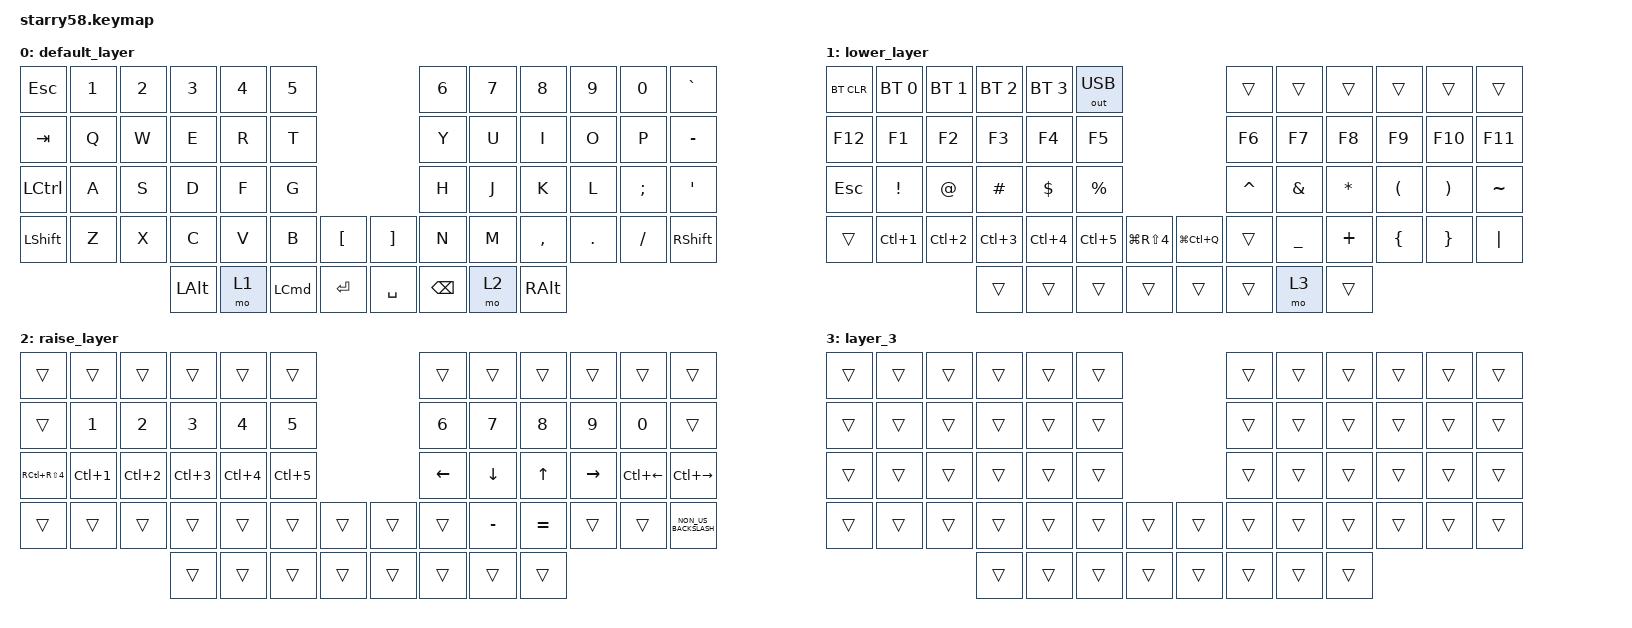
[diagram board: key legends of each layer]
#include <behaviors.dtsi>
#include <dt-bindings/zmk/bt.h>
#include <dt-bindings/zmk/keys.h>
#include <dt-bindings/zmk/outputs.h>

&sl { release-after-ms = <5000>; };

&kscan0 {
    debounce-press-ms = <30>;
    debounce-release-ms = <30>;
};

/ {
    keymap {
        compatible = "zmk,keymap";

        default_layer {
            bindings = <
&kp ESC           &kp N1  &kp N2  &kp N3        &kp N4  &kp N5                                   &kp N6         &kp N7  &kp N8         &kp N9   &kp N0    &kp GRAVE
&kp TAB           &kp Q   &kp W   &kp E         &kp R   &kp T                                    &kp Y          &kp U   &kp I          &kp O    &kp P     &kp MINUS
&kp LEFT_CONTROL  &kp A   &kp S   &kp D         &kp F   &kp G                                    &kp H          &kp J   &kp K          &kp L    &kp SEMI  &kp SQT
&kp LEFT_SHIFT    &kp Z   &kp X   &kp C         &kp V   &kp B             &kp LBKT    &kp RBKT   &kp N          &kp M   &kp COMMA      &kp DOT  &kp FSLH  &kp RIGHT_SHIFT
                                  &kp LEFT_ALT  &mo 1   &kp LEFT_COMMAND  &kp RET     &kp SPACE  &kp BACKSPACE  &mo 2   &kp RIGHT_ALT
            >;
        };

        lower_layer {
            bindings = <
&bt BT_CLR  &bt BT_SEL 0      &bt BT_SEL 1      &bt BT_SEL 2      &bt BT_SEL 3      &out OUT_USB                                             &trans     &trans          &trans        &trans                &trans                 &trans
&kp F12     &kp F1            &kp F2            &kp F3            &kp F4            &kp F5                                                   &kp F6     &kp F7          &kp F8        &kp F9                &kp F10                &kp F11
&kp ESC     &kp EXCL          &kp AT_SIGN       &kp HASH          &kp DOLLAR        &kp PERCENT                                              &kp CARET  &kp AMPERSAND   &kp ASTERISK  &kp LEFT_PARENTHESIS  &kp RIGHT_PARENTHESIS  &kp TILDE
&trans      &kp LC(NUMBER_1)  &kp LC(NUMBER_2)  &kp LC(NUMBER_3)  &kp LC(NUMBER_4)  &kp LC(NUMBER_5)  &kp LG(RS(NUMBER_4))    &kp LG(LC(Q))  &trans     &kp UNDERSCORE  &kp PLUS      &kp LEFT_BRACE        &kp RIGHT_BRACE        &kp PIPE
                                                &trans            &trans            &trans            &trans                  &trans         &trans     &mo 3           &trans
            >;
        };

        raise_layer {
            bindings = <
&trans                &trans            &trans            &trans        &trans            &trans                              &trans        &trans     &trans        &trans        &trans        &trans
&trans                &kp NUMBER_1      &kp NUMBER_2      &kp NUMBER_3  &kp NUMBER_4      &kp N5                              &kp NUMBER_6  &kp N7     &kp N8        &kp NUMBER_9  &kp NUMBER_0  &trans
&kp RC(RS(NUMBER_4))  &kp LC(NUMBER_1)  &kp LC(NUMBER_2)  &kp LC(N3)    &kp LC(NUMBER_4)  &kp LC(NUMBER_5)                    &kp LEFT      &kp DOWN   &kp UP_ARROW  &kp RIGHT     &kp LC(LEFT)  &kp LC(RIGHT)
&trans                &trans            &trans            &trans        &trans            &trans            &trans    &trans  &trans        &kp MINUS  &kp EQUAL     &trans        &trans        &kp NON_US_BACKSLASH
                                                          &trans        &trans            &trans            &trans    &trans  &trans        &trans     &trans
            >;
        };

        layer_3 {
            bindings = <
&trans  &trans  &trans  &trans  &trans  &trans                    &trans  &trans  &trans  &trans  &trans  &trans
&trans  &trans  &trans  &trans  &trans  &trans                    &trans  &trans  &trans  &trans  &trans  &trans
&trans  &trans  &trans  &trans  &trans  &trans                    &trans  &trans  &trans  &trans  &trans  &trans
&trans  &trans  &trans  &trans  &trans  &trans  &trans    &trans  &trans  &trans  &trans  &trans  &trans  &trans
                        &trans  &trans  &trans  &trans    &trans  &trans  &trans  &trans
            >;
        };
    };
};
